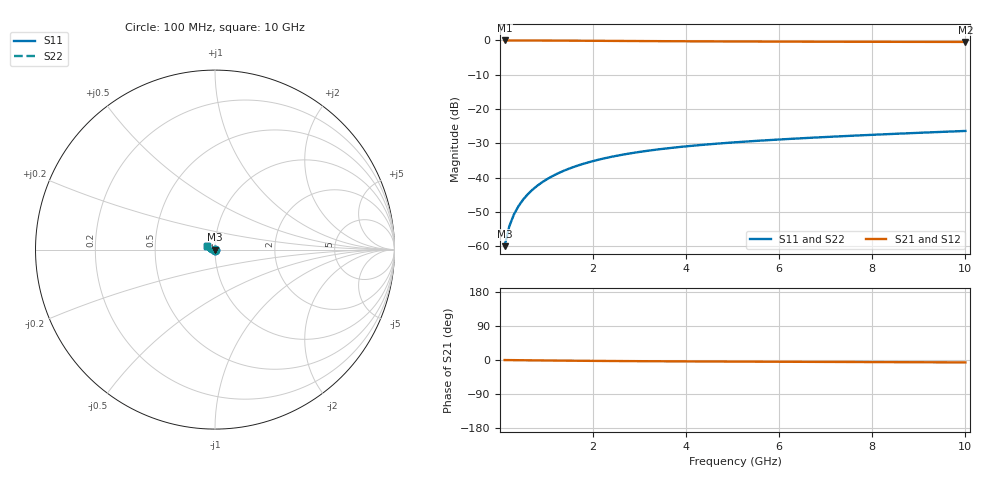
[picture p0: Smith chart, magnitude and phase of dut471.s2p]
! Touchstone file exported from HFSS 2024.1.0
!  File:  C:/UserFiles/LocalFiles/RDL_TSV_Batchsim/temp_TSV1_471_1779698436.aedt
!  Generated:  04:47:58 PM May 25, 2026
!  Design:  TSV1
!  Project:  temp_TSV1_471_1779698436
!  Setup:  Setup1
!  Solution:  Sweep
! Variables:
!  dtsv = 7.35um
!  hbump = 3um
!  htsv = 97.86um
!  lrdl = 252.1521522um
!  p = 40
!  p1 = 52.94um
!  t = 500um
!  trdl = 3um
!  wrdl = 24.89489489um
# GHz S MA R 50.000000
! Terminal data exported
! Port[1] = TSV22_T1
! Port[2] = TSV22_T2
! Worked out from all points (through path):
!   100 points, 100 MHz to 10 GHz, reference 50 ohm
!   highest |S21| = 0.00 dB at 100 MHz (marker M1); lowest = -0.4 dB at 10 GHz (marker M2)
!   lowest |S11| = -60.0 dB at 100 MHz (marker M3), VSWR 1.00, Z = 50 - j0.097 ohm
!   |S11| at or under -10 dB: start of sweep to end of sweep
!   |S22| runs from -60.0 to -26.4 dB; largest |S21 - S12| = 6.1e-15
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0.1  0.001006 -74.5  0.9997 -0.1  0.9997 -0.1  0.001006 -74.5
! Gamma 0 0 0 0
! Port Impedance 50 0 50 0
0.2  0.001956 -85.1  0.9995 -0.3  0.9995 -0.3  0.001956 -85.1
0.3  0.002914 -90.1  0.9993 -0.4  0.9993 -0.4  0.002914 -90.1
0.4  0.003871 -93.7  0.9991 -0.5  0.9991 -0.5  0.003871 -93.7
0.5  0.004822 -96.7  0.9988 -0.7  0.9988 -0.7  0.004822 -96.7
0.6  0.005765 -99.3  0.9984 -0.8  0.9984 -0.8  0.005765 -99.3
0.7  0.006698 -101.8  0.998 -0.9  0.998 -0.9  0.006698 -101.8
0.8  0.00762 -104.1  0.9975 -1.0  0.9975 -1.0  0.00762 -104.1
0.9  0.00853 -106.3  0.9969 -1.2  0.9969 -1.2  0.00853 -106.3
1.1  0.01031 -110.6  0.9957 -1.4  0.9957 -1.4  0.01031 -110.6
1.4  0.01286 -116.7  0.9935 -1.7  0.9935 -1.7  0.01286 -116.7
1.6  0.01447 -120.6  0.9919 -1.9  0.9919 -1.9  0.01447 -120.6
1.8  0.01601 -124.3  0.9902 -2.1  0.9902 -2.1  0.01601 -124.3
2.1  0.01818 -129.7  0.9876 -2.4  0.9876 -2.4  0.01818 -129.7
2.5  0.02082 -136.4  0.9841 -2.7  0.9841 -2.7  0.02082 -136.4
2.9  0.0232 -142.6  0.9807 -3.0  0.9807 -3.0  0.0232 -142.6
3.4  0.02585 -149.7  0.9767 -3.3  0.9767 -3.3  0.02585 -149.7
4.2  0.02949 -159.9  0.9711 -3.8  0.9711 -3.8  0.02949 -159.9
5.1  0.03296 -169.8  0.966 -4.2  0.966 -4.2  0.03296 -169.8
6.7  0.03825 175.8  0.9593 -4.9  0.9593 -4.9  0.03825 175.8
8.4  0.04334 163.7  0.9547 -5.7  0.9547 -5.7  0.04334 163.7
10  0.048 154.4  0.9516 -6.3  0.9516 -6.3  0.048 154.4
